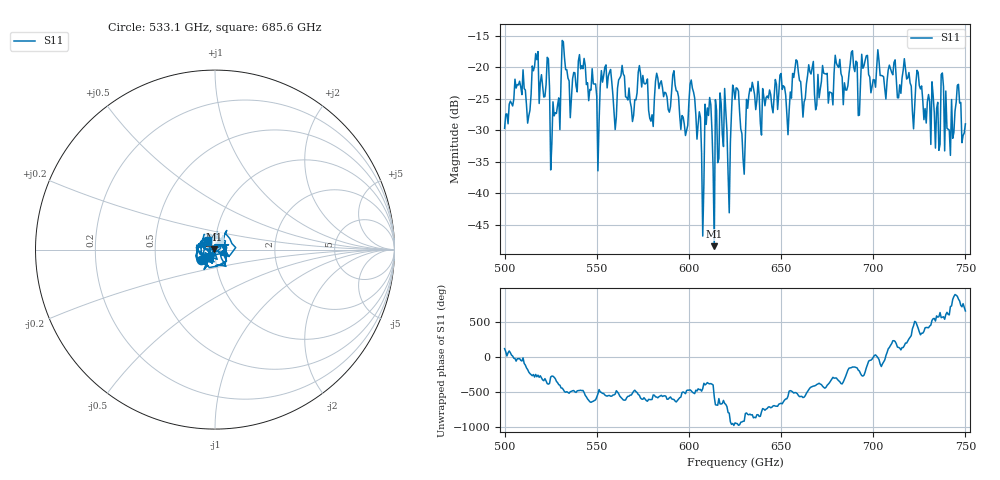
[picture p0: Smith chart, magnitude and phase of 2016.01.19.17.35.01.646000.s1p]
!Created with skrf (http://scikit-rf.org).
# GHz S RI R 50.0
!freq ReS11 ImS11
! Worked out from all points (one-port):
!   401 points, 500 GHz to 750 GHz, reference 50 ohm
!   lowest |S11| = -48.4 dB at 613.8 GHz (marker M1), VSWR 1.01, Z = 49.7 + j0.18 ohm
!   |S11| at or under -10 dB: start of sweep to end of sweep
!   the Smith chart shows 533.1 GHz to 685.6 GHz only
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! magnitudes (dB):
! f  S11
! 500 GHz  -29.7
! 506.9 GHz  -22.7
! 513.1 GHz  -27.7
! 516.9 GHz  -17.8
! 526.2 GHz  -25.5
! 531.2 GHz  -15.7
! 550.6 GHz  -36.4
! 553.8 GHz  -21.3
! 560 GHz  -29.9
! 562.5 GHz  -21.7
! 573.8 GHz  -21.0
! 579.4 GHz  -28.5
! 583.1 GHz  -21.7
! 593.8 GHz  -23.8
! 598.1 GHz  -30.8
! 601.9 GHz  -23.3
! 606.9 GHz  -33.7
! 611.2 GHz  -24.8
! 613.8 GHz  -48.4
! 618.1 GHz  -30.7
! 621.9 GHz  -43.1
! 625 GHz  -25.1
! 629.4 GHz  -34.6
! 633.8 GHz  -23.7
! 656.2 GHz  -21.0
! 687.5 GHz  -19.5
! 718.8 GHz  -21.7
! 750 GHz  -29.0
